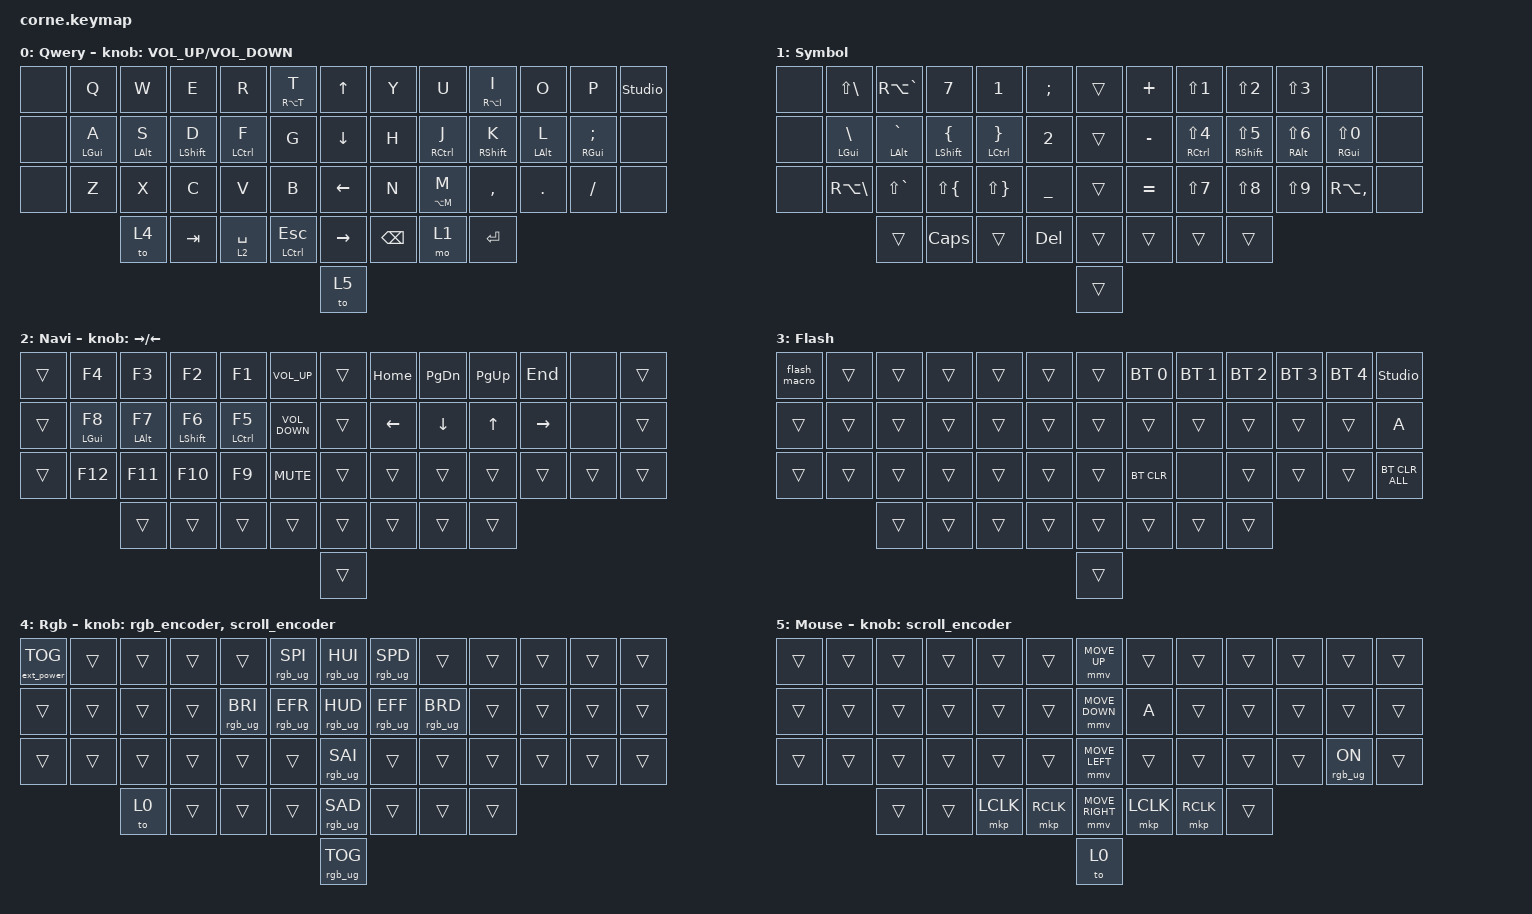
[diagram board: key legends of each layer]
#define ZMK_POINTING_DEFAULT_MOVE_VAL 1500  // 600
#define ZMK_POINTING_DEFAULT_SCRL_VAL 100   // 10

#include <input/processors.dtsi>
#include <zephyr/dt-bindings/input/input-event-codes.h>
#include <behaviors.dtsi>
#include <dt-bindings/zmk/bt.h>
#include <dt-bindings/zmk/ext_power.h>
#include <dt-bindings/zmk/keys.h>
#include <dt-bindings/zmk/pointing.h>
#include <dt-bindings/zmk/rgb.h>

&mmv_input_listener { input-processors = <&zip_xy_scaler 2 1>; };

&msc_input_listener { input-processors = <&zip_scroll_scaler 3 1>; };

&msc {
    acceleration-exponent = <1>;      // 0
    time-to-max-speed-ms = <40>;       // 300
    delay-ms = <16>;                   // 0
};

&mmv {
    time-to-max-speed-ms = <500>;
    acceleration-exponent = <1>;
    trigger-period-ms = <16>;
};

/ {
    macros {
        flash_macro: flash_macro {
            compatible = "zmk,behavior-macro";
            #binding-cells = <0>;
            bindings = <&bootloader>;
        };
    };

    behaviors {
        hml: homerow_mods_left {
            compatible = "zmk,behavior-hold-tap";
            label = "HOMEROW_MODS_LEFT";
            bindings = <&kp>, <&kp>;

            #binding-cells = <2>;
            tapping-term-ms = <200>;
            quick-tap-ms = <180>;
            flavor = "balanced";
            require-prior-idle-ms = <125>;
            hold-trigger-key-positions = <21 22 23>;
            hold-trigger-on-release;
        };

        ltq: ltq {
            compatible = "zmk,behavior-hold-tap";
            label = "LTQ";
            bindings = <&mo>, <&kp>;

            #binding-cells = <2>;
            tapping-term-ms = <200>;
            quick-tap-ms = <180>;
        };

        as: auto_shift {
            compatible = "zmk,behavior-hold-tap";
            label = "AUTO_SHIFT";
            bindings = <&kp>, <&kp>;

            #binding-cells = <2>;
            tapping-term-ms = <135>;
            quick-tap-ms = <0>;
        };

        rgb_encoder: rgb_encoder {
            compatible = "zmk,behavior-sensor-rotate";
            label = "RGB_ENCODER";
            #sensor-binding-cells = <0>;
            bindings = <&rgb_ug RGB_BRI>, <&rgb_ug RGB_BRD>;
        };

        scroll_encoder: scroll_encoder {
            compatible = "zmk,behavior-sensor-rotate";
            #sensor-binding-cells = <0>;
            bindings = <&msc SCRL_UP>, <&msc SCRL_DOWN>;

            tap-ms = <30>;
        };

        hmr: hmr {
            compatible = "zmk,behavior-hold-tap";
            label = "HMR";
            bindings = <&kp>, <&kp>;

            #binding-cells = <2>;
            tapping-term-ms = <200>;
            quick-tap-ms = <180>;
            flavor = "balanced";
            require-prior-idle-ms = <125>;
            hold-trigger-key-positions = <17 16 15 14>;
            hold-trigger-on-release;
        };
    };

    combos {
        compatible = "zmk,combos";

        left_par {
            bindings = <&kp NUMBER_9>;
            key-positions = <17 18>;
        };

        right_par {
            bindings = <&kp NUMBER_0>;
            key-positions = <21 20>;
        };

        left_brace {
            bindings = <&kp LS(GREATER_THAN)>;
            key-positions = <30 31>;
        };

        right_brace {
            bindings = <&kp LS(SLASH)>;
            key-positions = <34 33>;
        };

        less {
            bindings = <&kp RA(O)>;
            key-positions = <3 4>;
        };

        more {
            bindings = <&kp RA(P)>;
            key-positions = <8 9>;
        };

        left_round_par {
            bindings = <&kp DOT>;
            key-positions = <30 29>;
        };

        right_round_par {
            bindings = <&kp SLASH>;
            key-positions = <34 35>;
        };
    };

    keymap {
        compatible = "zmk,keymap";

        Qwery {
            bindings = <
&none  &kp Q            &kp W            &kp E              &kp R                &hmr RA(T) T                &kp UP_ARROW     &kp Y          &kp U                 &hmr RA(I) I        &kp O            &kp P                     &studio_unlock
&none  &hml LEFT_GUI A  &hml LEFT_ALT S  &hml LEFT_SHIFT D  &hml LEFT_CONTROL F  &kp G                       &kp DOWN_ARROW   &kp H          &hmr RIGHT_CONTROL J  &hmr RIGHT_SHIFT K  &hmr LEFT_ALT L  &hmr RIGHT_GUI SEMICOLON  &none
&none  &kp Z            &kp X            &kp C              &kp V                &kp B                       &kp LEFT_ARROW   &kp N          &hmr LA(M) M          &kp COMMA           &kp DOT          &kp SLASH                 &none
                        &to 4            &kp TAB            &ltq 2 SPACE         &hmr LEFT_CONTROL ESCAPE    &kp RIGHT_ARROW  &kp BACKSPACE  &mo 1                 &kp ENTER
                                                                                                             &to 5
            >;

            label = "Qwery";
            sensor-bindings = <&inc_dec_kp C_VOLUME_UP C_VOLUME_DOWN>;
        };

        Symbol {
            bindings = <
&none  &kp LS(BACKSLASH)        &kp RA(GRAVE)        &kp NUMBER_7                &kp NUMBER_1                   &kp SEMI          &trans  &kp PLUS   &kp LS(NUMBER_1)                 &kp LS(NUMBER_2)         &kp LS(NUMBER_3)             &none                  &none
&none  &hml LEFT_GUI BACKSLASH  &hml LEFT_ALT GRAVE  &hml LEFT_SHIFT LEFT_BRACE  &hml LEFT_CONTROL RIGHT_BRACE  &kp NUMBER_2      &trans  &kp MINUS  &hmr RIGHT_CONTROL LS(NUMBER_4)  &hmr RIGHT_SHIFT LS(N5)  &hmr RIGHT_ALT LS(NUMBER_6)  &hmr RIGHT_GUI LS(N0)  &none
&none  &kp RA(BACKSLASH)        &kp LS(GRAVE)        &kp LS(LEFT_BRACE)          &kp LS(RIGHT_BRACE)            &kp UNDERSCORE    &trans  &kp EQUAL  &kp LS(N7)                       &kp LS(N8)               &kp LS(N9)                   &kp RA(COMMA)          &none
                                &trans               &kp CAPS                    &trans                         &kp DELETE        &trans  &trans     &trans                           &trans
                                                                                                                                  &trans
            >;

            label = "Symbol";
        };

        Navi {
            bindings = <
&trans  &kp F4            &kp F3            &kp F2              &kp F1                &kp C_VOLUME_UP      &trans  &kp HOME        &kp PAGE_DOWN   &kp PAGE_UP   &kp END          &none   &trans
&trans  &hmr LEFT_GUI F8  &hmr LEFT_ALT F7  &hmr LEFT_SHIFT F6  &hmr LEFT_CONTROL F5  &kp C_VOLUME_DOWN    &trans  &kp LEFT_ARROW  &kp DOWN_ARROW  &kp UP_ARROW  &kp RIGHT_ARROW  &none   &trans
&trans  &kp F12           &kp F11           &kp F10             &kp F9                &kp K_MUTE           &trans  &trans          &trans          &trans        &trans           &trans  &trans
                          &trans            &trans              &trans                &trans               &trans  &trans          &trans          &trans
                                                                                                           &trans
            >;

            sensor-bindings = <&inc_dec_kp RIGHT_ARROW LEFT_ARROW>;
            label = "Navi";
        };

        Flash {
            bindings = <
&flash_macro  &trans  &trans  &trans  &trans  &trans    &trans  &bt BT_SEL 0  &bt BT_SEL 1  &bt BT_SEL 2  &bt BT_SEL 3  &bt BT_SEL 4  &studio_unlock
&trans        &trans  &trans  &trans  &trans  &trans    &trans  &trans        &trans        &trans        &trans        &trans        &kp A
&trans        &trans  &trans  &trans  &trans  &trans    &trans  &bt BT_CLR    &none         &trans        &trans        &trans        &bt BT_CLR_ALL
                      &trans  &trans  &trans  &trans    &trans  &trans        &trans        &trans
                                                        &trans
            >;

            label = "Flash";
        };

        Rgb {
            bindings = <
&ext_power EP_TOG  &trans  &trans  &trans  &trans           &rgb_ug RGB_SPI    &rgb_ug RGB_HUI  &rgb_ug RGB_SPD  &trans           &trans  &trans  &trans  &trans
&trans             &trans  &trans  &trans  &rgb_ug RGB_BRI  &rgb_ug RGB_EFR    &rgb_ug RGB_HUD  &rgb_ug RGB_EFF  &rgb_ug RGB_BRD  &trans  &trans  &trans  &trans
&trans             &trans  &trans  &trans  &trans           &trans             &rgb_ug RGB_SAI  &trans           &trans           &trans  &trans  &trans  &trans
                           &to 0   &trans  &trans           &trans             &rgb_ug RGB_SAD  &trans           &trans           &trans
                                                                               &rgb_ug RGB_TOG
            >;

            label = "Rgb";
            sensor-bindings = <&rgb_encoder &scroll_encoder>;
        };

        Mouse {
            bindings = <
&trans  &trans  &trans  &trans  &trans     &trans       &mmv MOVE_UP     &trans     &trans     &trans  &trans  &trans          &trans
&trans  &trans  &trans  &trans  &trans     &trans       &mmv MOVE_DOWN   &kp A      &trans     &trans  &trans  &trans          &trans
&trans  &trans  &trans  &trans  &trans     &trans       &mmv MOVE_LEFT   &trans     &trans     &trans  &trans  &rgb_ug RGB_ON  &trans
                &trans  &trans  &mkp LCLK  &mkp RCLK    &mmv MOVE_RIGHT  &mkp LCLK  &mkp RCLK  &trans
                                                        &to 0
            >;

            label = "Mouse";
            sensor-bindings = <&scroll_encoder>;
        };
    };

    conditional_layers {
        compatible = "zmk,conditional-layers";

        flash {
            if-layers = <1 2>;
            then-layer = <3>;
        };
    };
};
